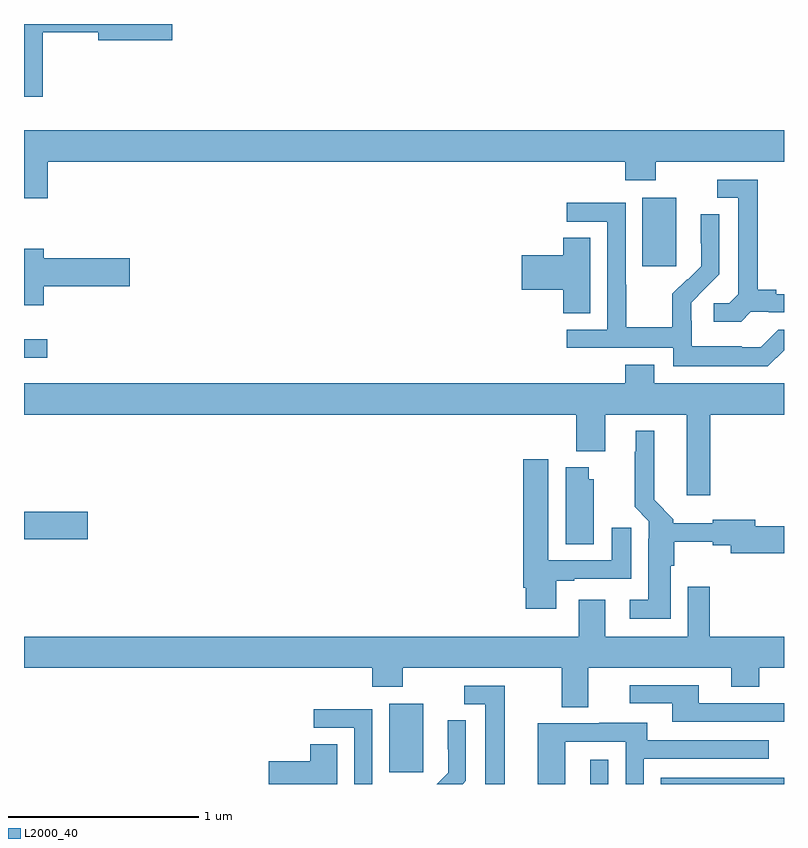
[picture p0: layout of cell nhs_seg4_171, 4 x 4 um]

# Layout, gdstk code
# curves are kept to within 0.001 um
import gdstk
lib = gdstk.Library(unit=1e-6, precision=1e-09)
def R(c, l, rs):  # rectangles x0, y0, x1, y1
    for r in rs: c.add(gdstk.rectangle(r[:2], r[2:], *l))
def P(c, l, *ps):  # polygons
    for p in ps: c.add(gdstk.Polygon(p, *l))
L2000_40 = (2000, 40)

nhs_seg4_171 = lib.new_cell('nhs_seg4_171')
R(nhs_seg4_171, L2000_40, [(121.979,770.9,122.076,771.028), (122.352,770.9,123,770.934), (120.923,770.961,121.102,771.322), (119,772.187,119.335,772.334), (119,773.144,119.122,773.241), (122.255,773.625,122.434,773.986)])
P(nhs_seg4_171, L2000_40, [(119.099,774.856),(119.39,774.856),(119.39,774.814),(119.779,774.814),(119.779,774.9),(119,774.9),(119,774.516),(119.099,774.516)],
  [(119.126,774.176),(122.165,774.176),(122.165,774.077),(122.325,774.077),(122.325,774.176),(123,774.176),(123,774.34),(119,774.34),(119,773.982),(119.126,773.982)],
  [(122.826,773.385),(122.92,773.385),(122.92,773.382),(123,773.382),(123,773.478),(122.959,773.478),(122.959,773.501),(122.863,773.501),(122.863,774.081),(122.649,774.081),(122.649,773.985),(122.759,773.985),(122.759,773.477),(122.712,773.43),(122.631,773.43),(122.631,773.333),(122.774,773.333)],
  [(123,773.184),(123,773.292),(122.97,773.292),(122.877,773.199),(122.777,773.199),(122.777,773.203),(122.514,773.203),(122.514,773.337),(122.512,773.337),(122.512,773.434),(122.658,773.582),(122.658,773.9),(122.562,773.9),(122.562,773.746),(122.564,773.746),(122.564,773.624),(122.493,773.553),(122.49,773.556),(122.413,773.479),(122.413,773.305),(122.169,773.305),(122.169,773.528),(122.166,773.528),(122.166,773.958),(121.857,773.958),(121.857,773.859),(122.07,773.859),(122.07,773.292),(121.857,773.292),(121.857,773.196),(122.418,773.196),(122.418,773.099),(122.915,773.099)],
  [(121.981,773.774),(121.838,773.774),(121.838,773.684),(121.62,773.684),(121.62,773.501),(121.838,773.501),(121.838,773.377),(121.981,773.377)],
  [(119.104,773.519),(119.557,773.519),(119.557,773.666),(119.104,773.666),(119.104,773.716),(119,773.716),(119,773.42),(119.104,773.42)],
  [(122.612,772.844),(123,772.844),(123,773.008),(122.317,773.008),(122.317,773.107),(122.165,773.107),(122.165,773.008),(119,773.008),(119,772.844),(121.907,772.844),(121.907,772.652),(122.059,772.652),(122.059,772.844),(122.489,772.844),(122.489,772.419),(122.612,772.419)],
  [(122.404,772.05),(122.422,772.05),(122.422,772.174),(122.624,772.174),(122.624,772.156),(122.72,772.156),(122.72,772.114),(123,772.114),(123,772.256),(122.848,772.256),(122.848,772.292),(122.624,772.292),(122.624,772.273),(122.418,772.273),(122.418,772.294),(122.317,772.396),(122.317,772.759),(122.219,772.759),(122.219,772.649),(122.215,772.649),(122.215,772.358),(122.289,772.284),(122.289,772.19),(122.285,772.19),(122.285,771.871),(122.187,771.871),(122.187,771.77),(122.404,771.77)],
  [(121.801,771.969),(121.897,771.969),(121.897,771.981),(122.197,771.981),(122.197,772.249),(122.093,772.249),(122.093,772.077),(121.759,772.077),(121.759,772.609),(121.628,772.609),(121.628,771.934),(121.64,771.934),(121.64,771.822),(121.801,771.822)],
  [(121.999,772.503),(121.972,772.503),(121.972,772.567),(121.85,772.567),(121.85,772.162),(121.999,772.162)],
  [(121.969,771.512),(122.723,771.512),(122.723,771.413),(122.871,771.413),(122.871,771.512),(123,771.512),(123,771.676),(122.609,771.676),(122.609,771.937),(122.493,771.937),(122.493,771.676),(122.059,771.676),(122.059,771.871),(121.919,771.871),(121.919,771.676),(119,771.676),(119,771.512),(120.833,771.512),(120.833,771.413),(120.993,771.413),(120.993,771.512),(121.829,771.512),(121.829,771.304),(121.969,771.304)],
  [(123,771.324),(122.551,771.324),(122.551,771.42),(122.187,771.42),(122.187,771.324),(122.411,771.324),(122.411,771.228),(123,771.228)],
  [(121.531,771.417),(121.317,771.417),(121.317,771.321),(121.427,771.321),(121.427,770.9),(121.531,770.9)],
  [(120.834,771.294),(120.525,771.294),(120.525,771.195),(120.738,771.195),(120.738,770.9),(120.834,770.9)],
  [(121.326,770.918),(121.326,771.236),(121.23,771.236),(121.23,771.082),(121.232,771.082),(121.232,770.96),(121.172,770.9),(121.308,770.9)],
  [(121.848,771.123),(122.166,771.123),(122.166,770.9),(122.262,770.9),(122.262,771.033),(122.921,771.033),(122.921,771.129),(122.281,771.129),(122.281,771.223),(122.027,771.223),(122.027,771.219),(121.703,771.219),(121.703,770.9),(121.848,770.9)],
  [(120.649,771.11),(120.506,771.11),(120.506,771.02),(120.288,771.02),(120.288,770.9),(120.649,770.9)])

lib.write_gds('nhs_seg4_171.gds')
